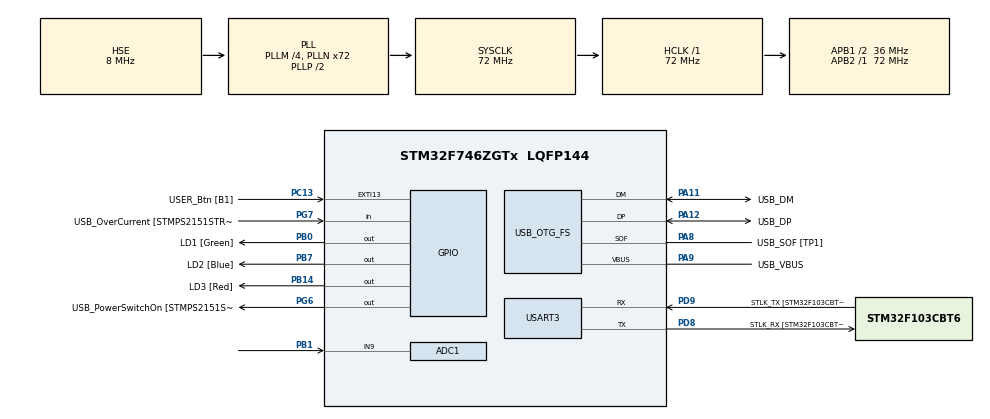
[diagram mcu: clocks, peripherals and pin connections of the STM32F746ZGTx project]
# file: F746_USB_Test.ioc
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ADC1.Channel-0\#ChannelRegularConversion=ADC_CHANNEL_9
ADC1.ContinuousConvMode=ENABLE
ADC1.NbrOfConversion=1
ADC1.NbrOfConversionFlag=1
ADC1.Rank-0\#ChannelRegularConversion=1
ADC1.SamplingTime-0\#ChannelRegularConversion=ADC_SAMPLETIME_3CYCLES
ADC1.master=1
Mcu.Family=STM32F7
Mcu.Name=STM32F746ZGTx
Mcu.Package=LQFP144
NVIC.OTG_FS_IRQn=true\:0\:0\:false\:false\:true\:false\:true\:true
NVIC.PriorityGroup=NVIC_PRIORITYGROUP_4
PA1.GPIO_Label=RMII_REF_CLK [LAN8742A-CZ-TR_REFCLK0]
PA1.Signal=ETH_REF_CLK
PA10.GPIO_Label=USB_ID
PA10.Signal=USB_OTG_FS_ID
PA11.GPIO_Label=USB_DM
PA11.Mode=Device_Only
PA11.Signal=USB_OTG_FS_DM
PA12.GPIO_Label=USB_DP
PA12.Mode=Device_Only
PA12.Signal=USB_OTG_FS_DP
PA13.GPIO_Label=TMS
PA13.Mode=Serial_Wire
PA13.Signal=SYS_JTMS-SWDIO
PA14.GPIO_Label=TCK
PA14.Mode=Serial_Wire
PA14.Signal=SYS_JTCK-SWCLK
PA2.GPIO_Label=RMII_MDIO [LAN8742A-CZ-TR_MDIO]
PA2.Signal=ETH_MDIO
PA7.GPIO_Label=RMII_CRS_DV [LAN8742A-CZ-TR_CRS_DV]
PA7.Signal=ETH_CRS_DV
PA8.GPIO_Label=USB_SOF [TP1]
PA8.Mode=Activate_SOF_FS
PA8.Signal=USB_OTG_FS_SOF
PA9.GPIO_Label=USB_VBUS
PA9.Mode=Activate_VBUS
PA9.Signal=USB_OTG_FS_VBUS
PB0.GPIO_Label=LD1 [Green]
PB0.Signal=GPIO_Output
PB1.Signal=ADCx_IN9
PB13.GPIO_Label=RMII_TXD1 [LAN8742A-CZ-TR_TXD1]
PB13.Signal=ETH_TXD1
PB14.GPIO_Label=LD3 [Red]
PB14.Signal=GPIO_Output
PB3.GPIO_Label=SW0
PB3.Signal=SYS_JTDO-SWO
PB7.GPIO_Label=LD2 [Blue]
PB7.Signal=GPIO_Output
PC1.GPIO_Label=RMII_MDC [LAN8742A-CZ-TR_MDC]
PC1.Signal=ETH_MDC
PC13.GPIO_Label=USER_Btn [B1]
PC13.Signal=GPXTI13
PC14/OSC32_IN.Mode=LSE-External-Oscillator
PC14/OSC32_IN.Signal=RCC_OSC32_IN
PC15/OSC32_OUT.Mode=LSE-External-Oscillator
PC15/OSC32_OUT.Signal=RCC_OSC32_OUT
PC4.GPIO_Label=RMII_RXD0 [LAN8742A-CZ-TR_RXD0]
PC4.Signal=ETH_RXD0
PC5.GPIO_Label=RMII_RXD1 [LAN8742A-CZ-TR_RXD1]
PC5.Signal=ETH_RXD1
PD8.GPIO_Label=STLK_RX [STM32F103CBT6_PA3]
PD8.Mode=Asynchronous
PD8.Signal=USART3_TX
PD9.GPIO_Label=STLK_TX [STM32F103CBT6_PA2]
PD9.Mode=Asynchronous
PD9.Signal=USART3_RX
PG11.GPIO_Label=RMII_TX_EN [LAN8742A-CZ-TR_TXEN]
PG11.Signal=ETH_TX_EN
PG13.GPIO_Label=RMII_TXD0 [LAN8742A-CZ-TR_TXD0]
PG13.Signal=ETH_TXD0
PG6.GPIO_Label=USB_PowerSwitchOn [STMPS2151STR_EN]
PG6.Signal=GPIO_Output
PG7.GPIO_Label=USB_OverCurrent [STMPS2151STR_FAULT]
PG7.Signal=GPIO_Input
PH0/OSC_IN.GPIO_Label=MCO [STM32F103CBT6_PA8]
PH0/OSC_IN.Mode=HSE-External-Clock-Source
PH0/OSC_IN.Signal=RCC_OSC_IN
PH1/OSC_OUT.Mode=HSE-External-Clock-Source
PH1/OSC_OUT.Signal=RCC_OSC_OUT
ProjectManager.HeapSize=0x200
ProjectManager.StackSize=0x400
ProjectManager.TargetToolchain=STM32CubeIDE
RCC.48MHZClocksFreq_Value=24000000
RCC.AHBFreq_Value=72000000
RCC.APB1CLKDivider=RCC_HCLK_DIV2
RCC.APB1Freq_Value=36000000
RCC.APB1TimFreq_Value=72000000
RCC.APB2Freq_Value=72000000
RCC.APB2TimFreq_Value=72000000
RCC.CortexFreq_Value=72000000
RCC.DATA_CACHE_ENABLE=1
RCC.HCLKFreq_Value=72000000
RCC.HSE_VALUE=8000000
RCC.HSI_VALUE=16000000
RCC.INSTRUCTION_CACHE_ENABLE=1
RCC.PLLM=4
RCC.PLLMUL=RCC_PLL_MUL9
RCC.PLLN=72
RCC.PLLQ=3
RCC.PREFETCH_ENABLE=1
RCC.PRESCALERUSB=RCC_USBCLKSOURCE_PLL_DIV1_5
RCC.SYSCLKFreq_VALUE=72000000
RCC.SYSCLKSource=RCC_SYSCLKSOURCE_PLLCLK
RCC.SYSCLKSourceVirtual=RCC_SYSCLKSOURCE_PLLCLK
RCC.USBFreq_Value=48000000
RCC.VCOOutputFreq_Value=144000000
SH.ADCx_IN9.0=ADC1_IN9,IN9
USART3.VirtualMode-Asynchronous=VM_ASYNC
USB_DEVICE.CLASS_NAME_FS=AUDIO
USB_DEVICE.VirtualMode-AUDIO_FS=Audio
USB_DEVICE.VirtualModeFS=Audio_FS
USB_OTG_FS.VirtualMode=Device_Only
VP_USB_DEVICE_VS_USB_DEVICE_AUDIO_FS.Mode=AUDIO_FS
board=NUCLEO-F746ZG

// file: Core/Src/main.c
/* USER CODE BEGIN Header */
/**
 ******************************************************************************
 * @file           : main.c
 * @brief          : Main program body
 ******************************************************************************
 * @attention
 *
 * Copyright (c) 2022 STMicroelectronics.
 * All rights reserved.
 *
 * This software is licensed under terms that can be found in the LICENSE file
 * in the root directory of this software component.
 * If no LICENSE file comes with this software, it is provided AS-IS.
 *
 ******************************************************************************
 */
/* USER CODE END Header */
#include "main.h"
//#include "usb_device.h"

/* USER CODE BEGIN Includes */
#include "usb_audio.h"
#include <string.h>
#include <stdio.h>
/* USER CODE END Includes */

ADC_HandleTypeDef hadc1;

UART_HandleTypeDef huart3;

/* USER CODE BEGIN PV */
USBD_HandleTypeDef USBD_Device;

#if USE_AUDIO_TIMER_VOLUME_CTRL
TIM_HandleTypeDef    TimHandle;
/* Prescaler declaration */
uint32_t uwPrescalerValue = 0;
#endif /* USE_AUDIO_TIMER_VOLUME_CTRL */
/* USER CODE END PV */

void SystemClock_Config(void);
static void MX_GPIO_Init(void);
static void MX_USART3_UART_Init(void);
static void MX_ADC1_Init(void);
/* USER CODE BEGIN PFP */
#if USE_AUDIO_TIMER_VOLUME_CTRL
static HAL_StatusTypeDef Timer_Init(void);
#endif /* USE_AUDIO_TIMER_VOLUME_CTRL */
/* externals  variables -----------------------------------------------*/
extern USBD_AUDIO_InterfaceCallbacksfTypeDef audio_class_interface;
/* USER CODE END PFP */

/* USER CODE BEGIN 0 */
#define ADC_0V_VALUE                                             0
#define ADC_1V_VALUE                                             1241
#define ADC_2V_VALUE                                             2482
#define ADC_3V_VALUE                                             3723

/* USER CODE END 0 */

int main(void)
{

  /* MCU Configuration--------------------------------------------------------*/

  /* Reset of all peripherals, Initializes the Flash interface and the Systick. */
  HAL_Init();

  /* Configure the system clock */
  SystemClock_Config();

  /* Initialize all configured peripherals */
  MX_GPIO_Init();
  MX_USART3_UART_Init();
  //MX_USB_DEVICE_Init();
  MX_ADC1_Init();
  /* USER CODE BEGIN 2 */
	/* Init Device Library */
	USBD_Init(&USBD_Device, &AUDIO_Desc, 0);

	/* Add Supported Class */
	USBD_RegisterClass(&USBD_Device, USBD_AUDIO_CLASS);

	/* Add Interface callbacks for AUDIO Class */
	USBD_AUDIO_RegisterInterface(&USBD_Device, &audio_class_interface);

	/* Start Device Process */
	USBD_Start(&USBD_Device);
  /* USER CODE END 2 */

  /* Infinite loop */
  /* USER CODE BEGIN WHILE */

	  char msg[10];

	while (1)
	{
	    // Get ADC value
	    HAL_ADC_Start(&hadc1);
	    HAL_ADC_PollForConversion(&hadc1, HAL_MAX_DELAY);
	    uint32_t adcResult = HAL_ADC_GetValue(&hadc1);

	    // Test: Set GPIO pin low
	    HAL_GPIO_WritePin(GPIOA, GPIO_PIN_10, GPIO_PIN_RESET);

	    // Convert to string and print
	    sprintf(msg, "%hu\r\n", adcResult);
	    HAL_UART_Transmit(&huart3, (uint8_t*)msg, strlen(msg), HAL_MAX_DELAY);

			GPIO_PinState ps;
			ps = ((adcResult >= ADC_0V_VALUE) && (adcResult < ADC_1V_VALUE)) ? GPIO_PIN_SET : GPIO_PIN_RESET;
			HAL_GPIO_WritePin(LD1_GPIO_Port, LD1_Pin, ps);
			ps = ((adcResult >= ADC_1V_VALUE) && (adcResult < ADC_2V_VALUE)) ? GPIO_PIN_SET : GPIO_PIN_RESET;
			HAL_GPIO_WritePin(LD2_GPIO_Port, LD2_Pin, ps);
			ps = ((adcResult >= ADC_2V_VALUE) && (adcResult < ADC_3V_VALUE)) ? GPIO_PIN_SET : GPIO_PIN_RESET;
			HAL_GPIO_WritePin(LD3_GPIO_Port, LD3_Pin, ps);

    /* USER CODE END WHILE */

	}
}

void SystemClock_Config(void)
{
  RCC_OscInitTypeDef RCC_OscInitStruct = {0};
  RCC_ClkInitTypeDef RCC_ClkInitStruct = {0};

  /** Configure LSE Drive Capability
  */
  HAL_PWR_EnableBkUpAccess();

  /** Configure the main internal regulator output voltage
  */
  __HAL_RCC_PWR_CLK_ENABLE();
  __HAL_PWR_VOLTAGESCALING_CONFIG(PWR_REGULATOR_VOLTAGE_SCALE3);

  /** Initializes the RCC Oscillators according to the specified parameters
  * in the RCC_OscInitTypeDef structure.
  */
  RCC_OscInitStruct.OscillatorType = RCC_OSCILLATORTYPE_HSE;
  RCC_OscInitStruct.HSEState = RCC_HSE_BYPASS;
  RCC_OscInitStruct.PLL.PLLState = RCC_PLL_ON;
  RCC_OscInitStruct.PLL.PLLSource = RCC_PLLSOURCE_HSE;
  RCC_OscInitStruct.PLL.PLLM = 4;
  RCC_OscInitStruct.PLL.PLLN = 72;
  RCC_OscInitStruct.PLL.PLLP = RCC_PLLP_DIV2;
  RCC_OscInitStruct.PLL.PLLQ = 3;
  if (HAL_RCC_OscConfig(&RCC_OscInitStruct) != HAL_OK)
  {
    Error_Handler();
  }

  /** Initializes the CPU, AHB and APB buses clocks
  */
  RCC_ClkInitStruct.ClockType = RCC_CLOCKTYPE_HCLK|RCC_CLOCKTYPE_SYSCLK
                              |RCC_CLOCKTYPE_PCLK1|RCC_CLOCKTYPE_PCLK2;
  RCC_ClkInitStruct.SYSCLKSource = RCC_SYSCLKSOURCE_PLLCLK;
  RCC_ClkInitStruct.AHBCLKDivider = RCC_SYSCLK_DIV1;
  RCC_ClkInitStruct.APB1CLKDivider = RCC_HCLK_DIV2;
  RCC_ClkInitStruct.APB2CLKDivider = RCC_HCLK_DIV1;

  if (HAL_RCC_ClockConfig(&RCC_ClkInitStruct, FLASH_LATENCY_2) != HAL_OK)
  {
    Error_Handler();
  }
}

static void MX_ADC1_Init(void)
{

  ADC_ChannelConfTypeDef sConfig = {0};

  /** Configure the global features of the ADC (Clock, Resolution, Data Alignment and number of conversion)
  */
  hadc1.Instance = ADC1;
  hadc1.Init.ClockPrescaler = ADC_CLOCK_SYNC_PCLK_DIV2;
  hadc1.Init.Resolution = ADC_RESOLUTION_12B;
  hadc1.Init.ScanConvMode = ADC_SCAN_DISABLE;
  hadc1.Init.ContinuousConvMode = ENABLE;
  hadc1.Init.DiscontinuousConvMode = DISABLE;
  hadc1.Init.ExternalTrigConvEdge = ADC_EXTERNALTRIGCONVEDGE_NONE;
  hadc1.Init.ExternalTrigConv = ADC_SOFTWARE_START;
  hadc1.Init.DataAlign = ADC_DATAALIGN_RIGHT;
  hadc1.Init.NbrOfConversion = 1;
  hadc1.Init.DMAContinuousRequests = DISABLE;
  hadc1.Init.EOCSelection = ADC_EOC_SINGLE_CONV;
  if (HAL_ADC_Init(&hadc1) != HAL_OK)
  {
    Error_Handler();
  }

  /** Configure for the selected ADC regular channel its corresponding rank in the sequencer and its sample time.
  */
  sConfig.Channel = ADC_CHANNEL_9;
  sConfig.Rank = ADC_REGULAR_RANK_1;
  sConfig.SamplingTime = ADC_SAMPLETIME_3CYCLES;
  if (HAL_ADC_ConfigChannel(&hadc1, &sConfig) != HAL_OK)
  {
    Error_Handler();
  }

}

static void MX_USART3_UART_Init(void)
{

  huart3.Instance = USART3;
  huart3.Init.BaudRate = 115200;
  huart3.Init.WordLength = UART_WORDLENGTH_8B;
  huart3.Init.StopBits = UART_STOPBITS_1;
  huart3.Init.Parity = UART_PARITY_NONE;
  huart3.Init.Mode = UART_MODE_TX_RX;
  huart3.Init.HwFlowCtl = UART_HWCONTROL_NONE;
  huart3.Init.OverSampling = UART_OVERSAMPLING_16;
  huart3.Init.OneBitSampling = UART_ONE_BIT_SAMPLE_DISABLE;
  huart3.AdvancedInit.AdvFeatureInit = UART_ADVFEATURE_NO_INIT;
  if (HAL_UART_Init(&huart3) != HAL_OK)
  {
    Error_Handler();
  }

}

static void MX_GPIO_Init(void)
{
  GPIO_InitTypeDef GPIO_InitStruct = {0};

  /* GPIO Ports Clock Enable */
  __HAL_RCC_GPIOC_CLK_ENABLE();
  __HAL_RCC_GPIOH_CLK_ENABLE();
  __HAL_RCC_GPIOA_CLK_ENABLE();
  __HAL_RCC_GPIOB_CLK_ENABLE();
  __HAL_RCC_GPIOD_CLK_ENABLE();
  __HAL_RCC_GPIOG_CLK_ENABLE();

  /*Configure GPIO pin Output Level */
  HAL_GPIO_WritePin(GPIOB, LD1_Pin|LD3_Pin|LD2_Pin, GPIO_PIN_RESET);

  /*Configure GPIO pin Output Level */
  HAL_GPIO_WritePin(USB_PowerSwitchOn_GPIO_Port, USB_PowerSwitchOn_Pin, GPIO_PIN_RESET);

  /*Configure GPIO pin : USER_Btn_Pin */
  GPIO_InitStruct.Pin = USER_Btn_Pin;
  GPIO_InitStruct.Mode = GPIO_MODE_IT_RISING;
  GPIO_InitStruct.Pull = GPIO_NOPULL;
  HAL_GPIO_Init(USER_Btn_GPIO_Port, &GPIO_InitStruct);

  /*Configure GPIO pins : RMII_MDC_Pin RMII_RXD0_Pin RMII_RXD1_Pin */
  GPIO_InitStruct.Pin = RMII_MDC_Pin|RMII_RXD0_Pin|RMII_RXD1_Pin;
  GPIO_InitStruct.Mode = GPIO_MODE_AF_PP;
  GPIO_InitStruct.Pull = GPIO_NOPULL;
  GPIO_InitStruct.Speed = GPIO_SPEED_FREQ_VERY_HIGH;
  GPIO_InitStruct.Alternate = GPIO_AF11_ETH;
  HAL_GPIO_Init(GPIOC, &GPIO_InitStruct);

  /*Configure GPIO pins : RMII_REF_CLK_Pin RMII_MDIO_Pin RMII_CRS_DV_Pin */
  GPIO_InitStruct.Pin = RMII_REF_CLK_Pin|RMII_MDIO_Pin|RMII_CRS_DV_Pin;
  GPIO_InitStruct.Mode = GPIO_MODE_AF_PP;
  GPIO_InitStruct.Pull = GPIO_NOPULL;
  GPIO_InitStruct.Speed = GPIO_SPEED_FREQ_VERY_HIGH;
  GPIO_InitStruct.Alternate = GPIO_AF11_ETH;
  HAL_GPIO_Init(GPIOA, &GPIO_InitStruct);

  /*Configure GPIO pins : LD1_Pin LD3_Pin LD2_Pin */
  GPIO_InitStruct.Pin = LD1_Pin|LD3_Pin|LD2_Pin;
  GPIO_InitStruct.Mode = GPIO_MODE_OUTPUT_PP;
  GPIO_InitStruct.Pull = GPIO_NOPULL;
  GPIO_InitStruct.Speed = GPIO_SPEED_FREQ_LOW;
  HAL_GPIO_Init(GPIOB, &GPIO_InitStruct);

  /*Configure GPIO pin : RMII_TXD1_Pin */
  GPIO_InitStruct.Pin = RMII_TXD1_Pin;
  GPIO_InitStruct.Mode = GPIO_MODE_AF_PP;
  GPIO_InitStruct.Pull = GPIO_NOPULL;
  GPIO_InitStruct.Speed = GPIO_SPEED_FREQ_VERY_HIGH;
  GPIO_InitStruct.Alternate = GPIO_AF11_ETH;
  HAL_GPIO_Init(RMII_TXD1_GPIO_Port, &GPIO_InitStruct);

  /*Configure GPIO pin : USB_PowerSwitchOn_Pin */
  GPIO_InitStruct.Pin = USB_PowerSwitchOn_Pin;
  GPIO_InitStruct.Mode = GPIO_MODE_OUTPUT_PP;
  GPIO_InitStruct.Pull = GPIO_NOPULL;
  GPIO_InitStruct.Speed = GPIO_SPEED_FREQ_LOW;
  HAL_GPIO_Init(USB_PowerSwitchOn_GPIO_Port, &GPIO_InitStruct);

  /*Configure GPIO pin : USB_OverCurrent_Pin */
  GPIO_InitStruct.Pin = USB_OverCurrent_Pin;
  GPIO_InitStruct.Mode = GPIO_MODE_INPUT;
  GPIO_InitStruct.Pull = GPIO_NOPULL;
  HAL_GPIO_Init(USB_OverCurrent_GPIO_Port, &GPIO_InitStruct);

  /*Configure GPIO pins : RMII_TX_EN_Pin RMII_TXD0_Pin */
  GPIO_InitStruct.Pin = RMII_TX_EN_Pin|RMII_TXD0_Pin;
  GPIO_InitStruct.Mode = GPIO_MODE_AF_PP;
  GPIO_InitStruct.Pull = GPIO_NOPULL;
  GPIO_InitStruct.Speed = GPIO_SPEED_FREQ_VERY_HIGH;
  GPIO_InitStruct.Alternate = GPIO_AF11_ETH;
  HAL_GPIO_Init(GPIOG, &GPIO_InitStruct);

}

/* USER CODE BEGIN 4 */
/**
 * @brief  This function is executed in case of an error occurrence in Audio Class.
 * @param  None
 * @retval None
 */
void USBD_error_handler(void)
{
	Error_Handler();
}
/* USER CODE END 4 */

void Error_Handler(void)
{
  /* USER CODE BEGIN Error_Handler_Debug */
	/* User can add his own implementation to report the HAL error return state */
	__disable_irq();
	while (1)
	{
		GPIO_PinState ps = GPIO_PIN_SET;
		HAL_GPIO_WritePin(LD3_GPIO_Port, LD1_Pin, ps);
		HAL_GPIO_WritePin(LD3_GPIO_Port, LD2_Pin, ps);
		HAL_GPIO_WritePin(LD3_GPIO_Port, LD3_Pin, ps);
	}
  /* USER CODE END Error_Handler_Debug */
}
